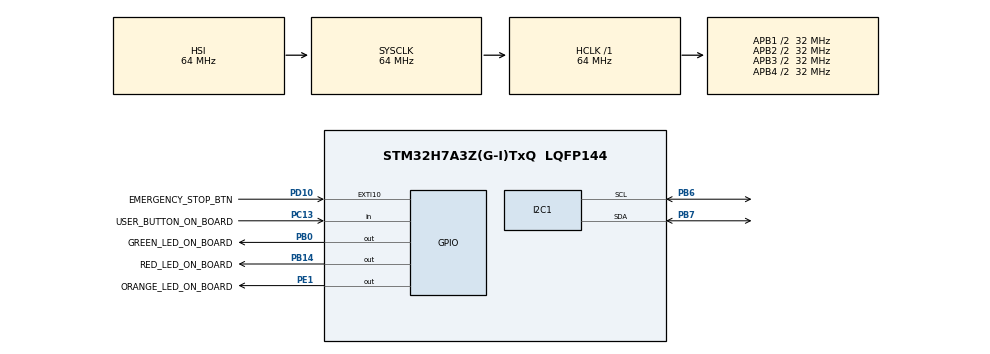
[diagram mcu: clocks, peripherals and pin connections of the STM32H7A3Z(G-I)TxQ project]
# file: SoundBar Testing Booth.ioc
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I2C1.Timing=0x00707CBB
Mcu.Family=STM32H7
Mcu.Name=STM32H7A3Z(G-I)TxQ
Mcu.Package=LQFP144
NVIC.EXTI15_10_IRQn=true\:0\:0\:false\:false\:true\:true\:true\:true
NVIC.PriorityGroup=NVIC_PRIORITYGROUP_4
PB0.GPIO_Label=GREEN_LED_ON_BOARD
PB0.Signal=GPIO_Output
PB14.GPIO_Label=RED_LED_ON_BOARD
PB14.Signal=GPIO_Output
PB6.Mode=I2C
PB6.Signal=I2C1_SCL
PB7.Mode=I2C
PB7.Signal=I2C1_SDA
PC13.GPIO_Label=USER_BUTTON_ON_BOARD
PC13.GPIO_PuPd=GPIO_PULLDOWN
PC13.Signal=GPIO_Input
PD10.GPIO_Label=EMERGENCY_STOP_BTN
PD10.GPIO_ModeDefaultEXTI=GPIO_MODE_IT_FALLING
PD10.GPIO_PuPd=GPIO_PULLUP
PD10.Signal=GPXTI10
PE1.GPIO_Label=ORANGE_LED_ON_BOARD
PE1.Signal=GPIO_Output
ProjectManager.HeapSize=0x200
ProjectManager.StackSize=0x400
ProjectManager.TargetToolchain=STM32CubeIDE
RCC.ADCFreq_Value=129000000
RCC.APB1Freq_Value=32000000
RCC.APB2Freq_Value=32000000
RCC.APB3Freq_Value=32000000
RCC.APB4Freq_Value=32000000
RCC.CDPPRE=RCC_APB3_DIV2
RCC.CDPPRE1=RCC_APB1_DIV2
RCC.CDPPRE2=RCC_APB2_DIV2
RCC.CortexFreq_Value=64000000
RCC.HCLKFreq_Value=64000000
RCC.SRDPPRE=RCC_APB4_DIV2
RCC.SYSCLKFreq_VALUE=64000000
RCC.USBFreq_Value=129000000
board=custom

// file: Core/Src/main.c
/* USER CODE BEGIN Header */
/**
  ******************************************************************************
  * @file           : main.c
  * @brief          : Main program body
  ******************************************************************************
  * @attention
  *
  * Copyright (c) 2022 STMicroelectronics.
  * All rights reserved.
  *
  * This software is licensed under terms that can be found in the LICENSE file
  * in the root directory of this software component.
  * If no LICENSE file comes with this software, it is provided AS-IS.
  *
  ******************************************************************************
  */
/* USER CODE END Header */
#include "main.h"

/* USER CODE BEGIN Includes */
#include <stdbool.h>
/* USER CODE END Includes */

I2C_HandleTypeDef hi2c1;

void SystemClock_Config(void);
static void MX_GPIO_Init(void);
static void MX_I2C1_Init(void);

/* USER CODE BEGIN 0 */

void set_led_status(bool on_status){
	HAL_GPIO_WritePin(ORANGE_LED_ON_BOARD_GPIO_Port, ORANGE_LED_ON_BOARD_Pin, on_status);
	HAL_GPIO_WritePin(RED_LED_ON_BOARD_GPIO_Port, RED_LED_ON_BOARD_Pin, on_status);
	HAL_GPIO_WritePin(GREEN_LED_ON_BOARD_GPIO_Port, GREEN_LED_ON_BOARD_Pin, on_status);
}

void sos_signal_test(){
	// Morse code out S.O.S.
	const uint16_t delay_time = 200; // in milliseconds

	// --- S (3 short)

	set_led_status(1);    // 1st cycle
	HAL_Delay(delay_time);
	set_led_status(0);
	HAL_Delay(delay_time);

	set_led_status(1);    // 2nd cycle
	HAL_Delay(delay_time);
	set_led_status(0);
	HAL_Delay(delay_time);

	set_led_status(1);    // 3rd cycle
	HAL_Delay(delay_time);
	set_led_status(0);
	HAL_Delay(delay_time);

	// --- O (3 long)
	set_led_status(1);    // 1st cycle
	HAL_Delay(delay_time*3);
	set_led_status(0);
	HAL_Delay(delay_time);

	set_led_status(1);    // 2nd cycle
	HAL_Delay(delay_time*3);
	set_led_status(0);
	HAL_Delay(delay_time);

	set_led_status(1);    // 3rd cycle
	HAL_Delay(delay_time*3);
	set_led_status(0);
	HAL_Delay(delay_time);

	// --- S (3 short)

	set_led_status(1);    // 1st cycle
	HAL_Delay(delay_time);
	set_led_status(0);
	HAL_Delay(delay_time);

	set_led_status(1);    // 2nd cycle
	HAL_Delay(delay_time);
	set_led_status(0);
	HAL_Delay(delay_time);

	set_led_status(1);    // 3rd cycle
	HAL_Delay(delay_time);
	set_led_status(0);
	HAL_Delay(delay_time);

	HAL_Delay(delay_time*4);
}

/* USER CODE END 0 */

int main(void)
{

  /* MCU Configuration--------------------------------------------------------*/

  /* Reset of all peripherals, Initializes the Flash interface and the Systick. */
  HAL_Init();

  /* Configure the system clock */
  SystemClock_Config();

  /* Initialize all configured peripherals */
  MX_GPIO_Init();
  MX_I2C1_Init();
  /* USER CODE BEGIN 2 */

  uint8_t i2c_buffer[12];
  /* USER CODE END 2 */

  /* Infinite loop */
  /* USER CODE BEGIN WHILE */
  // enable blue LED
  //enable clock access to GPIOB

  while (1)
  {
	  HAL_StatusTypeDef return_value;
	  i2c_buffer[0] = 0x11;  //test byte to send - interpreted as integer
	  const uint8_t number_of_bytes_to_send = 1;
	  const uint16_t slave_i2c_device_addr = 0x08 << 1;  // since the i2c first bit is reserved we must left shift this value to reflect
	  return_value = HAL_I2C_Master_Transmit(&hi2c1, slave_i2c_device_addr, i2c_buffer, number_of_bytes_to_send, HAL_MAX_DELAY);

	  if ( return_value != HAL_OK){
		  set_led_status(1);
	  }
	  else{
		  set_led_status(0);
	  }
	  GPIO_PinState user_button_state = HAL_GPIO_ReadPin(USER_BUTTON_ON_BOARD_GPIO_Port, USER_BUTTON_ON_BOARD_Pin);
	  if(user_button_state == GPIO_PIN_SET){
		  sos_signal_test();
	  }
    /* USER CODE END WHILE */

  }
}

void SystemClock_Config(void)
{
  RCC_OscInitTypeDef RCC_OscInitStruct = {0};
  RCC_ClkInitTypeDef RCC_ClkInitStruct = {0};

  /*AXI clock gating */
  RCC->CKGAENR = 0xFFFFFFFF;

  /** Supply configuration update enable
  */
  HAL_PWREx_ConfigSupply(PWR_DIRECT_SMPS_SUPPLY);

  /** Configure the main internal regulator output voltage
  */
  __HAL_PWR_VOLTAGESCALING_CONFIG(PWR_REGULATOR_VOLTAGE_SCALE3);

  while(!__HAL_PWR_GET_FLAG(PWR_FLAG_VOSRDY)) {}

  /** Initializes the RCC Oscillators according to the specified parameters
  * in the RCC_OscInitTypeDef structure.
  */
  RCC_OscInitStruct.OscillatorType = RCC_OSCILLATORTYPE_HSI;
  RCC_OscInitStruct.HSIState = RCC_HSI_DIV1;
  RCC_OscInitStruct.HSICalibrationValue = RCC_HSICALIBRATION_DEFAULT;
  RCC_OscInitStruct.PLL.PLLState = RCC_PLL_NONE;
  if (HAL_RCC_OscConfig(&RCC_OscInitStruct) != HAL_OK)
  {
    Error_Handler();
  }

  /** Initializes the CPU, AHB and APB buses clocks
  */
  RCC_ClkInitStruct.ClockType = RCC_CLOCKTYPE_HCLK|RCC_CLOCKTYPE_SYSCLK
                              |RCC_CLOCKTYPE_PCLK1|RCC_CLOCKTYPE_PCLK2
                              |RCC_CLOCKTYPE_D3PCLK1|RCC_CLOCKTYPE_D1PCLK1;
  RCC_ClkInitStruct.SYSCLKSource = RCC_SYSCLKSOURCE_HSI;
  RCC_ClkInitStruct.SYSCLKDivider = RCC_SYSCLK_DIV1;
  RCC_ClkInitStruct.AHBCLKDivider = RCC_HCLK_DIV1;
  RCC_ClkInitStruct.APB3CLKDivider = RCC_APB3_DIV2;
  RCC_ClkInitStruct.APB1CLKDivider = RCC_APB1_DIV2;
  RCC_ClkInitStruct.APB2CLKDivider = RCC_APB2_DIV2;
  RCC_ClkInitStruct.APB4CLKDivider = RCC_APB4_DIV2;

  if (HAL_RCC_ClockConfig(&RCC_ClkInitStruct, FLASH_LATENCY_2) != HAL_OK)
  {
    Error_Handler();
  }
}

static void MX_I2C1_Init(void)
{

  hi2c1.Instance = I2C1;
  hi2c1.Init.Timing = 0x00707CBB;
  hi2c1.Init.OwnAddress1 = 0;
  hi2c1.Init.AddressingMode = I2C_ADDRESSINGMODE_7BIT;
  hi2c1.Init.DualAddressMode = I2C_DUALADDRESS_DISABLE;
  hi2c1.Init.OwnAddress2 = 0;
  hi2c1.Init.OwnAddress2Masks = I2C_OA2_NOMASK;
  hi2c1.Init.GeneralCallMode = I2C_GENERALCALL_DISABLE;
  hi2c1.Init.NoStretchMode = I2C_NOSTRETCH_DISABLE;
  if (HAL_I2C_Init(&hi2c1) != HAL_OK)
  {
    Error_Handler();
  }

  /** Configure Analogue filter
  */
  if (HAL_I2CEx_ConfigAnalogFilter(&hi2c1, I2C_ANALOGFILTER_ENABLE) != HAL_OK)
  {
    Error_Handler();
  }

  /** Configure Digital filter
  */
  if (HAL_I2CEx_ConfigDigitalFilter(&hi2c1, 0) != HAL_OK)
  {
    Error_Handler();
  }

}

static void MX_GPIO_Init(void)
{
  GPIO_InitTypeDef GPIO_InitStruct = {0};

  /* GPIO Ports Clock Enable */
  __HAL_RCC_GPIOC_CLK_ENABLE();
  __HAL_RCC_GPIOB_CLK_ENABLE();
  __HAL_RCC_GPIOD_CLK_ENABLE();
  __HAL_RCC_GPIOE_CLK_ENABLE();

  /*Configure GPIO pin Output Level */
  HAL_GPIO_WritePin(GPIOB, GREEN_LED_ON_BOARD_Pin|RED_LED_ON_BOARD_Pin, GPIO_PIN_RESET);

  /*Configure GPIO pin Output Level */
  HAL_GPIO_WritePin(ORANGE_LED_ON_BOARD_GPIO_Port, ORANGE_LED_ON_BOARD_Pin, GPIO_PIN_RESET);

  /*Configure GPIO pin : USER_BUTTON_ON_BOARD_Pin */
  GPIO_InitStruct.Pin = USER_BUTTON_ON_BOARD_Pin;
  GPIO_InitStruct.Mode = GPIO_MODE_INPUT;
  GPIO_InitStruct.Pull = GPIO_PULLDOWN;
  HAL_GPIO_Init(USER_BUTTON_ON_BOARD_GPIO_Port, &GPIO_InitStruct);

  /*Configure GPIO pins : GREEN_LED_ON_BOARD_Pin RED_LED_ON_BOARD_Pin */
  GPIO_InitStruct.Pin = GREEN_LED_ON_BOARD_Pin|RED_LED_ON_BOARD_Pin;
  GPIO_InitStruct.Mode = GPIO_MODE_OUTPUT_PP;
  GPIO_InitStruct.Pull = GPIO_NOPULL;
  GPIO_InitStruct.Speed = GPIO_SPEED_FREQ_LOW;
  HAL_GPIO_Init(GPIOB, &GPIO_InitStruct);

  /*Configure GPIO pin : EMERGENCY_STOP_BTN_Pin */
  GPIO_InitStruct.Pin = EMERGENCY_STOP_BTN_Pin;
  GPIO_InitStruct.Mode = GPIO_MODE_IT_FALLING;
  GPIO_InitStruct.Pull = GPIO_PULLUP;
  HAL_GPIO_Init(EMERGENCY_STOP_BTN_GPIO_Port, &GPIO_InitStruct);

  /*Configure GPIO pin : ORANGE_LED_ON_BOARD_Pin */
  GPIO_InitStruct.Pin = ORANGE_LED_ON_BOARD_Pin;
  GPIO_InitStruct.Mode = GPIO_MODE_OUTPUT_PP;
  GPIO_InitStruct.Pull = GPIO_NOPULL;
  GPIO_InitStruct.Speed = GPIO_SPEED_FREQ_LOW;
  HAL_GPIO_Init(ORANGE_LED_ON_BOARD_GPIO_Port, &GPIO_InitStruct);

  /* EXTI interrupt init*/
  HAL_NVIC_SetPriority(EXTI15_10_IRQn, 0, 0);
  HAL_NVIC_EnableIRQ(EXTI15_10_IRQn);

}

/* USER CODE BEGIN 4 */
void HAL_GPIO_EXTI_Callback(uint16_t GPIO_Pin)  // setup test interrupt
{
	set_led_status(1);
	while(true){
		// emergency stop
	}
}
/* USER CODE END 4 */

void Error_Handler(void)
{
  __disable_irq();
  while (1)
  {
  }
}
